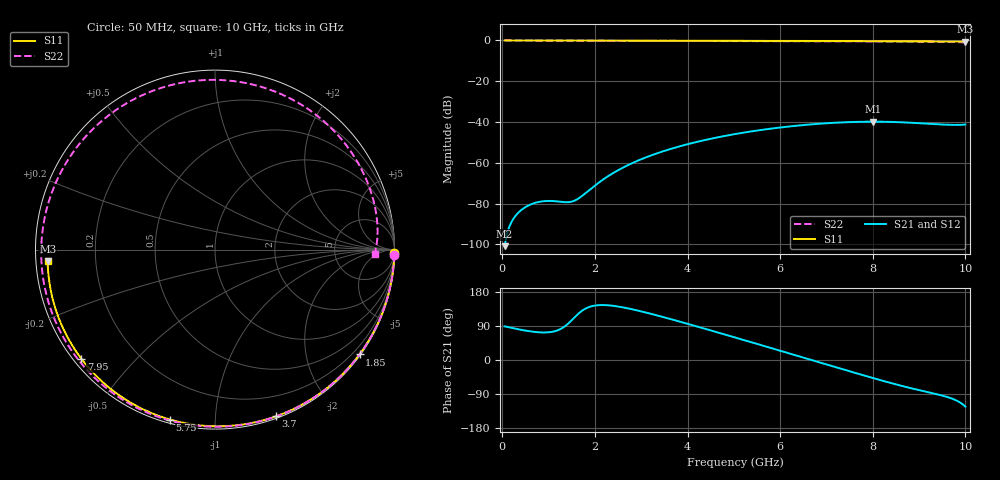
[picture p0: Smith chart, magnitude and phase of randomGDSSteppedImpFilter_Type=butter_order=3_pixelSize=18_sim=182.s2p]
! freq	dB(S11)	phase(S11)	dB(S12)	phase(S12)
!  dB(S21)	phase(S21)	dB(S22)	phase(S22)
!S-par simulation data
#  GHz  S  DB  R 50
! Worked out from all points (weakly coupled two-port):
!   200 points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, 50 MHz to 10 GHz, reference 50 ohm
!   highest |S21| = -39.84 dB at 8 GHz (marker M1); lowest = -100.9 dB at 50 MHz (marker M2)
!   lowest |S11| = -0.6 dB at 10 GHz (marker M3), VSWR 29.62, Z = 1.69 - j1.76 ohm
!   |S11| at or under -10 dB: nowhere
!   |S22| runs from -1.0 to 0.0 dB; largest |S21 - S12| = 0
!   S11 on the Smith chart (normalised r, x): 50 MHz: open; 1.85 GHz: 0.03, -3.08; 3.7 GHz: 0.02, -1.43; 5.75 GHz: 0.02, -0.77; 7.95 GHz: 0.02, -0.36; 10 GHz: 0.03, -0.04
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0.05  -0.00 -1.0  -100.91 88.8  -100.91 88.8  -0.00 -1.7
0.7  -0.02 -13.8  -79.73 74.1  -79.73 74.1  -0.03 -23.7
1  -0.03 -19.6  -78.71 73.1  -78.71 73.1  -0.04 -33.8
1.45  -0.04 -28.3  -79.26 99.2  -79.26 99.2  -0.06 -48.6
1.75  -0.04 -34.1  -75.78 132.2  -75.78 132.2  -0.07 -58.4
1.85  -0.05 -36.0  -73.94 138.6  -73.94 138.6  -0.08 -61.6
2.55  -0.06 -49.1  -63.04 140.1  -63.04 140.1  -0.10 -83.6
3.4  -0.09 -64.6  -54.91 115.8  -54.91 115.8  -0.14 -109.5
3.7  -0.10 -69.9  -52.77 105.8  -52.77 105.8  -0.15 -118.5
4.4  -0.12 -82.1  -48.72 81.6  -48.72 81.6  -0.19 -139.4
5.05  -0.14 -93.2  -45.83 58.6  -45.83 58.6  -0.23 -159.1
5.75  -0.18 -104.9  -43.41 33.5  -43.41 33.5  -0.28 178.8
6.25  -0.21 -113.0  -42.06 15.5  -42.06 15.5  -0.32 162.2
6.7  -0.24 -120.4  -41.11 -0.9  -41.11 -0.9  -0.36 146.3
7.4  -0.29 -131.7  -40.13 -26.2  -40.13 -26.2  -0.43 119.5
7.95  -0.34 -140.7  -39.85 -45.7  -39.85 -45.7  -0.47 96.4
8  -0.35 -141.5  -39.84 -47.5  -39.84 -47.5  -0.48 94.2
8.35  -0.38 -147.3  -39.93 -59.4  -39.93 -59.4  -0.50 78.6
8.8  -0.43 -154.8  -40.32 -73.7  -40.32 -73.7  -0.54 57.7
9.3  -0.49 -163.4  -41.00 -88.0  -41.00 -88.0  -0.60 33.6
9.7  -0.55 -170.5  -41.41 -101.4  -41.41 -101.4  -0.71 13.9
10  -0.59 -176.0  -41.25 -123.1  -41.25 -123.1  -1.02 -1.6
